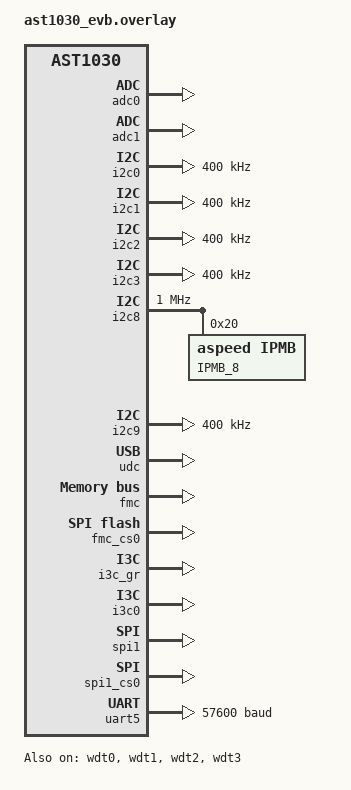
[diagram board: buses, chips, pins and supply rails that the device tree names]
&adc0 {
	status = "okay";
	pinctrl-0 = <&pinctrl_adc0_default &pinctrl_adc1_default
				 &pinctrl_adc2_default &pinctrl_adc6_default 
				 &pinctrl_adc7_default>;
};

&adc1 {
	status = "okay";
	pinctrl-0 = <&pinctrl_adc9_default &pinctrl_adc10_default
				 &pinctrl_adc11_default &pinctrl_adc12_default
				 &pinctrl_adc13_default>;
};

&i2c0 {
	pinctrl-0 = <&pinctrl_i2c0_default>;
	status = "okay";
	clock-frequency = <I2C_BITRATE_FAST>;
};

&i2c1 {
	pinctrl-0 = <&pinctrl_i2c1_default>;
	status = "okay";
	clock-frequency = <I2C_BITRATE_FAST>;
};

&i2c2 {
	pinctrl-0 = <&pinctrl_i2c2_default>;
	status = "okay";
	clock-frequency = <I2C_BITRATE_FAST>;
};

&i2c3 {
	pinctrl-0 = <&pinctrl_i2c3_default>;
	status = "okay";
	clock-frequency = <I2C_BITRATE_FAST>;
};

&i2c8 {
	pinctrl-0 = <&pinctrl_i2c8_default>;
	status = "okay";
	clock-frequency = <I2C_BITRATE_FAST_PLUS>;

	ipmb8: ipmb@20 {
		compatible = "aspeed,ipmb";
		reg = <0x20>;
		label = "IPMB_8";
		size = <10>;
#ifdef CONFIG_I2C_IPMB_SLAVE
		status = "okay";
#endif
	};

};

&i2c9 {
	pinctrl-0 = <&pinctrl_i2c9_default>;
	status = "okay";
	clock-frequency = <I2C_BITRATE_FAST>;
};

&udc {
	status = "okay";
};

&fmc {
	status = "okay";
};

&fmc_cs0 {
	status = "okay";
	spi-max-buswidth = <4>;
	spi-max-frequency = <50000000>;

	partitions {
		compatible = "fixed-partitions";
		#address-cells = <1>;
		#size-cells = <1>;
		boot_partition: partition@0 {
			label = "image-0";
			reg = <0x0 0x100000>;
		};
		dfu_partition: partition@1 {
			label = "image-1";
			reg = <0x0 0x100000>;
		};
	};
};

&i3c_gr {
       status = "okay";
       pull-up-resistor-ohm = <2000>, <2000>, <2000>, <2000>;
};

&i3c0 {
	pinctrl-0 = <&pinctrl_i3c0_default>;
    status = "okay";
    assigned-address = <0x20>;
	i2c-scl-hz = < 1000000 >;
	i3c-scl-hz = < 12500000 >;
	i3c-pp-scl-hi-period-ns = <40>;
	i3c-pp-scl-lo-period-ns = <40>;
	i3c-od-scl-hi-period-ns = <40>;
	i3c-od-scl-lo-period-ns = <40>;
	sda-tx-hold-ns = <10>;

};

&spi1 {
	status = "okay";
};

&spi1_cs0 {
	status = "okay";
	spi-max-buswidth = <4>;
	spi-max-frequency = <3125000>;
	re-init-support;
};

&uart5 {
	current-speed = <57600>;
};

&wdt0 {
	status = "okay";
};

&wdt1 {
	status = "okay";
};

&wdt2 {
	status = "okay";
};

&wdt3 {
	status = "okay";
};

&gpio0_a_d {
  aspeed,persist-maps = <0x03ff0003>;
};

&gpio0_e_h {
  aspeed,persist-maps = <0x00000402>;
};
